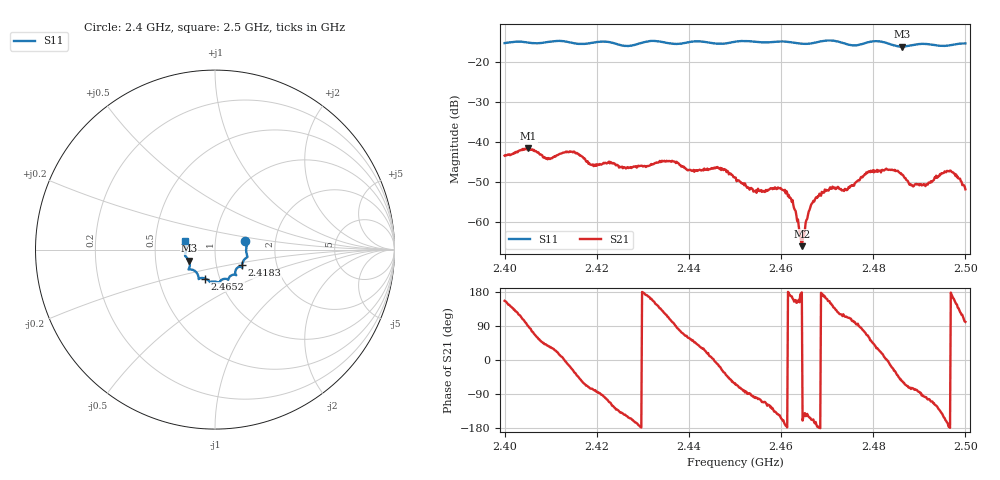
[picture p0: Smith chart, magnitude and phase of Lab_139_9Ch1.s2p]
# Hz S RI R 50
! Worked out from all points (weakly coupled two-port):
!   601 points, 2.4 GHz to 2.5 GHz, reference 50 ohm
!   highest |S21| = -41.62 dB at 2.4052 GHz (marker M1); lowest = -66.2 dB at 2.4645 GHz (marker M2)
!   lowest |S11| = -16.1 dB at 2.4863 GHz (marker M3), VSWR 1.37, Z = 37.1 - j4.72 ohm
!   |S11| at or under -10 dB: start of sweep to end of sweep
!   S12 and S22 are empty: the file has one direction only
!   S11 on the Smith chart (normalised r, x): 2.4 GHz: 1.40, +0.14; 2.4183 GHz: 1.33, -0.24; 2.4652 GHz: 0.85, -0.28; 2.5 GHz: 0.71, +0.07
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2.4e9  0.1679 0.0472  -0.00616 0.00272  0 0  0 0
2.405167e9  0.1757 0.017  0.000156 0.0083  0 0  0 0
2.409333e9  0.1772 -0.0289  0.00475 0.00374  0 0  0 0
2.416667e9  0.1555 -0.068  0.00382 -0.00541  0 0  0 0
2.418333e9  0.1502 -0.0864  0.00167 -0.00518  0 0  0 0
2.433333e9  0.1171 -0.1413  -0.00436 0.00335  0 0  0 0
2.446333e9  0.0509 -0.1633  0.00464 -0.000962  0 0  0 0
2.45e9  0.026 -0.1796  0.00172 -0.00313  0 0  0 0
2.454333e9  0.0121 -0.1806  -0.000323 -0.0024  0 0  0 0
2.460833e9  -0.0292 -0.1797  -0.00247 -0.000432  0 0  0 0
2.462667e9  -0.0345 -0.1735  -0.0015 0.000554  0 0  0 0
2.4645e9  -0.0475 -0.1645  -0.00049 1.35e-05  0 0  0 0
2.465167e9  -0.0545 -0.1615  -0.000599 -0.000501  0 0  0 0
2.466667e9  -0.0708 -0.158  -0.00156 -0.000629  0 0  0 0
2.47e9  -0.091 -0.1642  -0.00234 0.000813  0 0  0 0
2.474e9  -0.095 -0.1419  -0.00104 0.00234  0 0  0 0
2.483333e9  -0.1418 -0.0968  0.00443 -0.000435  0 0  0 0
2.486333e9  -0.1443 -0.062  0.00216 -0.00322  0 0  0 0
2.488333e9  -0.1577 -0.0441  0.000814 -0.00278  0 0  0 0
2.491e9  -0.1672 -0.0328  -0.000307 -0.00294  0 0  0 0
2.4965e9  -0.1617 0.0209  -0.00425 -0.00046  0 0  0 0
2.5e9  -0.1657 0.0475  -0.000468 0.0025  0 0  0 0
